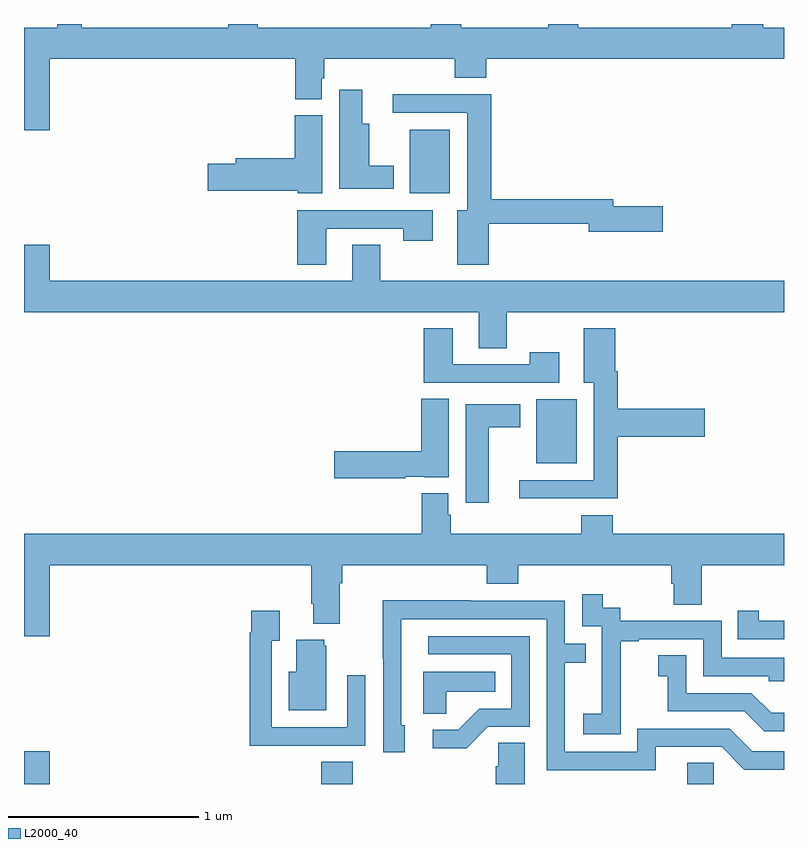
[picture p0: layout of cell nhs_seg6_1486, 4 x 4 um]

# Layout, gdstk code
import gdstk
lib = gdstk.Library(unit=1e-6, precision=1e-09)
def R(c, l, rs):  # rectangles x0, y0, x1, y1
    for r in rs: c.add(gdstk.rectangle(r[:2], r[2:], *l))
def P(c, l, *ps):  # polygons
    for p in ps: c.add(gdstk.Polygon(p, *l))
L2000_40 = (2000, 40)

nhs_seg6_1486 = lib.new_cell('nhs_seg6_1486')
R(nhs_seg6_1486, L2000_40, [(201,963.5,201.136,963.673), (202.565,963.5,202.73,963.617), (204.491,963.5,204.63,963.611), (203.696,965.189,203.908,965.524), (203.03,966.608,203.242,966.943)])
P(nhs_seg6_1486, L2000_40, [(201.136,967.316),(202.427,967.316),(202.427,967.105),(202.567,967.105),(202.567,967.215),(202.58,967.215),(202.58,967.316),(203.267,967.316),(203.267,967.217),(203.432,967.217),(203.432,967.316),(205,967.316),(205,967.48),(204.89,967.48),(204.89,967.5),(204.725,967.5),(204.725,967.48),(203.918,967.48),(203.918,967.5),(203.758,967.5),(203.758,967.48),(203.301,967.48),(203.301,967.5),(203.141,967.5),(203.141,967.48),(202.229,967.48),(202.229,967.5),(202.076,967.5),(202.076,967.48),(201.305,967.48),(201.305,967.5),(201.175,967.5),(201.175,967.48),(201,967.48),(201,966.942),(201.136,966.942)],
  [(202.945,966.754),(202.816,966.754),(202.816,966.976),(202.78,966.976),(202.78,967.153),(202.658,967.153),(202.658,966.632),(202.945,966.632)],
  [(203.446,966.45),(203.972,966.45),(203.972,966.407),(204.361,966.407),(204.361,966.542),(204.1,966.542),(204.1,966.578),(203.459,966.578),(203.459,967.13),(202.941,967.13),(202.941,967.032),(203.333,967.032),(203.333,966.52),(203.279,966.52),(203.279,966.234),(203.446,966.234)],
  [(202.57,967.02),(202.424,967.02),(202.424,966.794),(202.115,966.794),(202.115,966.764),(201.966,966.764),(201.966,966.622),(202.44,966.622),(202.44,966.608),(202.57,966.608)],
  [(202.591,966.423),(202.996,966.423),(202.996,966.36),(203.152,966.36),(203.152,966.519),(202.439,966.519),(202.439,966.234),(202.591,966.234)],
  [(203.541,965.984),(205,965.984),(205,966.148),(202.875,966.148),(202.875,966.338),(202.727,966.338),(202.727,966.148),(201.136,966.148),(201.136,966.337),(201,966.337),(201,965.984),(203.393,965.984),(203.393,965.794),(203.541,965.794)],
  [(204.125,965.327),(204.583,965.327),(204.583,965.474),(204.125,965.474),(204.125,965.672),(204.112,965.672),(204.112,965.899),(203.945,965.899),(203.945,965.612),(203.999,965.612),(203.999,965.1),(203.607,965.1),(203.607,965.003),(204.125,965.003)],
  [(203.818,965.773),(203.662,965.773),(203.662,965.709),(203.257,965.709),(203.257,965.899),(203.105,965.899),(203.105,965.613),(203.818,965.613)],
  [(203.006,965.117),(203.106,965.117),(203.106,965.114),(203.236,965.114),(203.236,965.528),(203.09,965.528),(203.09,965.252),(202.632,965.252),(202.632,965.11),(203.006,965.11)],
  [(203.446,965.378),(203.611,965.378),(203.611,965.5),(203.324,965.5),(203.324,964.98),(203.446,964.98)],
  [(201.136,964.652),(202.511,964.652),(202.511,964.45),(202.523,964.45),(202.523,964.343),(202.663,964.343),(202.663,964.556),(202.676,964.556),(202.676,964.652),(203.435,964.652),(203.435,964.553),(203.6,964.553),(203.6,964.652),(204.407,964.652),(204.407,964.554),(204.419,964.554),(204.419,964.444),(204.567,964.444),(204.567,964.652),(205,964.652),(205,964.816),(204.098,964.816),(204.098,964.915),(203.933,964.915),(203.933,964.816),(203.246,964.816),(203.246,964.917),(203.233,964.917),(203.233,965.029),(203.093,965.029),(203.093,964.816),(201,964.816),(201,964.278),(201.136,964.278)],
  [(204.141,963.967),(204.14,963.967),(204.14,964.251),(204.235,964.251),(204.235,964.263),(204.576,964.263),(204.576,964.068),(204.921,964.068),(204.921,964.041),(205,964.041),(205,964.164),(204.672,964.164),(204.672,964.359),(204.138,964.359),(204.138,964.428),(204.046,964.428),(204.046,964.498),(203.937,964.498),(203.937,964.329),(204.042,964.329),(204.042,964.1),(204.041,964.1),(204.041,963.871),(203.943,963.871),(203.943,963.761),(204.141,963.761)],
  [(204.325,963.696),(204.672,963.696),(204.792,963.576),(205,963.576),(205,963.672),(204.834,963.672),(204.714,963.792),(204.228,963.792),(204.228,963.669),(203.847,963.669),(203.847,964.138),(203.957,964.138),(203.957,964.239),(203.847,964.239),(203.847,964.464),(203.351,964.464),(203.351,964.466),(202.888,964.466),(202.888,964.159),(202.89,964.159),(202.89,963.666),(203.005,963.666),(203.005,963.81),(202.986,963.81),(202.986,964.368),(203.751,964.368),(203.751,963.573),(204.325,963.573)],
  [(202.481,963.702),(202.797,963.702),(202.797,964.072),(202.701,964.072),(202.701,963.798),(202.305,963.798),(202.305,964.255),(202.345,964.255),(202.345,964.411),(202.197,964.411),(202.197,964.298),(202.189,964.298),(202.189,963.701),(202.481,963.701)],
  [(205,964.359),(204.868,964.359),(204.868,964.411),(204.757,964.411),(204.757,964.263),(205,964.263)],
  [(203.442,963.801),(203.661,963.801),(203.661,964.278),(203.127,964.278),(203.127,964.182),(203.565,964.182),(203.565,963.897),(203.396,963.897),(203.285,963.786),(203.151,963.786),(203.151,963.689),(203.329,963.689)],
  [(202.591,964.227),(202.58,964.227),(202.58,964.258),(202.433,964.258),(202.433,964.09),(202.394,964.09),(202.394,963.887),(202.591,963.887)],
  [(205,963.874),(204.932,963.874),(204.828,963.978),(204.486,963.978),(204.486,964.177),(204.339,964.177),(204.339,964.067),(204.388,964.067),(204.388,963.882),(204.791,963.882),(204.896,963.777),(205,963.777)],
  [(203.223,963.986),(203.48,963.986),(203.48,964.09),(203.102,964.09),(203.102,963.871),(203.223,963.871)],
  [(203.635,963.716),(203.496,963.716),(203.496,963.593),(203.483,963.593),(203.483,963.5),(203.635,963.5)])

lib.write_gds('nhs_seg6_1486.gds')
